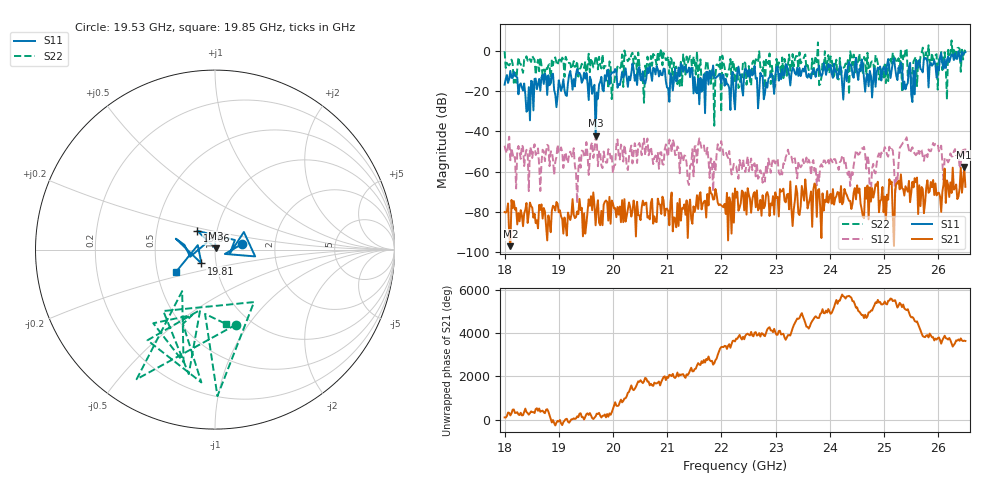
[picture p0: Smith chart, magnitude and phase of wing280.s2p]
!Keysight Technologies,N5242B,MY47200105,A.14.00.23
!Date: Friday, May 10, 2024 11:16:09
!Correction: S11(C  2-Port  )
!S21(C  2-Port  )
!S12(C  2-Port  )
!S22(C  2-Port  )
!S2P File: Measurement: :
# Hz S  RI  R 50
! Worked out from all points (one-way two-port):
!   401 points, 18 GHz to 26.5 GHz, reference 50 ohm
!   highest |S21| = -57.56 dB at 26.48 GHz (marker M1); lowest = -96.9 dB at 18.11 GHz (marker M2)
!   lowest |S11| = -42.1 dB at 19.68 GHz (marker M3), VSWR 1.02, Z = 50.4 + j0.702 ohm
!   |S11| at or under -10 dB: 18.11 GHz to 19.33 GHz (1.224 GHz wide, 6.54 % of centre); 19.35 GHz to 19.9 GHz (548.2 MHz wide, 2.79 % of centre); 21.86 GHz to 22.3 GHz (442.5 MHz wide, 2 % of centre) (the widest 3 of 59)
!   |S22| runs from -37.2 to 5.1 dB; largest |S21 - S12| = 0.0074
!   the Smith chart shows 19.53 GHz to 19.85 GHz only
!   S11 on the Smith chart (normalised r, x): 19.53 GHz: 1.35, +0.09; 19.66 GHz: 0.80, +0.17; 19.81 GHz: 0.85, -0.13; 19.85 GHz: 0.63, -0.17
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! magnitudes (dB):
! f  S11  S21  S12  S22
! 18 GHz  -16.8  -80.0  -47.1  -0.3
! 18.11 GHz  -10.0  -96.9  -54.3  -6.2
! 18.43 GHz  -29.5  -85.4  -50.6  -4.9
! 19.42 GHz  -15.8  -77.9  -49.5  -6.5
! 19.53 GHz  -16.2  -79.6  -51.6  -7.3
! 19.66 GHz  -16.9  -76.5  -50.0  -6.9
! 19.68 GHz  -42.1  -86.5  -42.7  -2.6
! 19.81 GHz  -19.3  -86.5  -58.2  -1.8
! 19.85 GHz  -12.1  -74.9  -53.4  -7.6
! 20.55 GHz  -10.2  -74.3  -45.8  -13.7
! 20.85 GHz  -12.7  -75.9  -58.5  -4.5
! 21.23 GHz  -12.7  -73.4  -60.7  -17.4
! 22.25 GHz  -29.1  -68.3  -57.1  -16.0
! 23.67 GHz  -10.7  -87.3  -55.8  -3.8
! 24.38 GHz  -7.1  -74.4  -67.1  -0.3
! 24.61 GHz  -6.8  -82.1  -48.7  -11.0
! 24.78 GHz  -23.2  -68.1  -58.3  -5.2
! 25.1 GHz  -9.0  -63.7  -47.6  -6.2
! 25.23 GHz  -12.5  -65.7  -62.8  -5.2
! 25.37 GHz  -15.3  -71.8  -45.5  -4.0
! 26.48 GHz  -1.1  -57.6  -52.4  -0.2
! 26.5 GHz  -0.6  -67.5  -48.5  0.5
